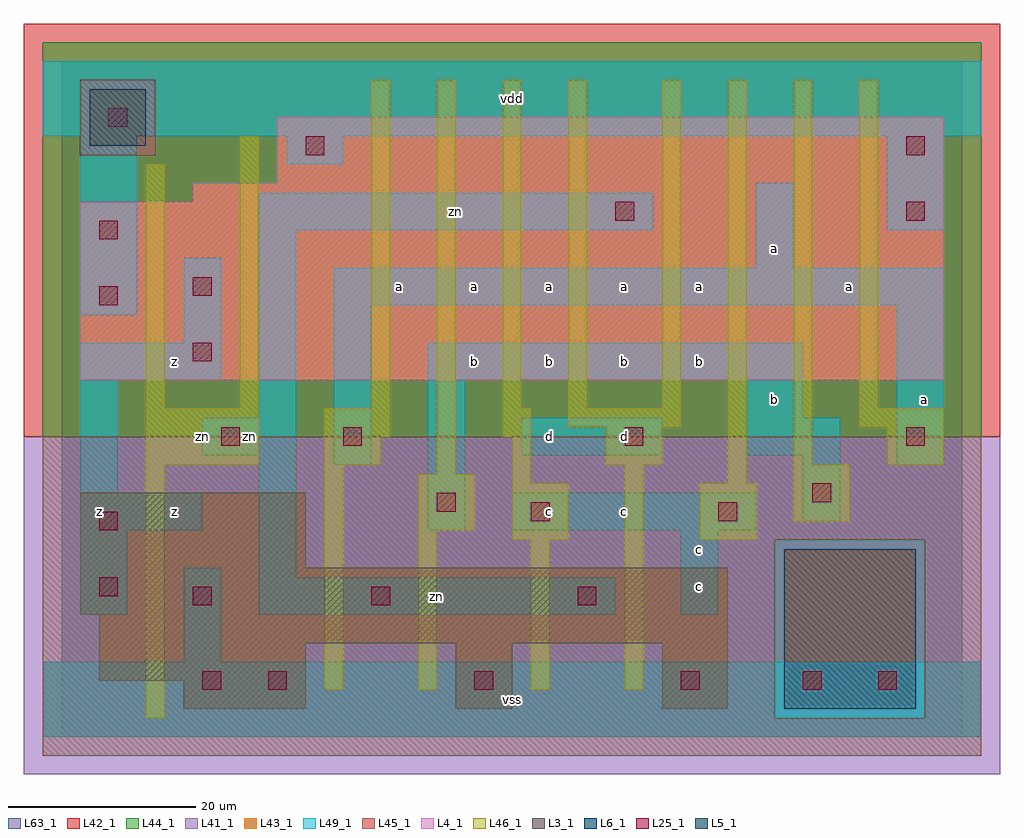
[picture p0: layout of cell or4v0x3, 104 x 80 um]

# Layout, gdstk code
import gdstk
lib = gdstk.Library(unit=1e-6, precision=1e-09)
def R(c, l, rs):  # rectangles x0, y0, x1, y1
    for r in rs: c.add(gdstk.rectangle(r[:2], r[2:], *l))
def A(c, l, x, y, w, h, nx, ny, dx, dy):  # array of equal rectangles
    R(c, l, [(x+i*dx, y+j*dy, x+i*dx+w, y+j*dy+h) for i in range(nx) for j in range(ny)])
L3_1 = (3, 1)
L4_1 = (4, 1)
L5_1 = (5, 1)
L6_1 = (6, 1)
L25_1 = (25, 1)
L41_1 = (41, 1)
L42_1 = (42, 1)
L43_1 = (43, 1)
L44_1 = (44, 1)
L45_1 = (45, 1)
L46_1 = (46, 1)
L49_1 = (49, 1)
L63_1 = (63, 1)

or4v0x3 = lib.new_cell('or4v0x3')
R(or4v0x3, L3_1, [(13,3,26,6), (42,3,48,10), (64,3,71,10), (4,6,26,10), (4,10,71,13), (2,13,71,18), (2,18,26,26)])
R(or4v0x3, L4_1, [(2,38,94,57), (14,57,94,59), (23,59,94,66)])
R(or4v0x3, L5_1, [(3,63,9,69)])
R(or4v0x3, L6_1, [(77,3,91,20), (77,3,91,20)])
A(or4v0x3, L25_1, 22, 5, 2, 2, 3, 1, 22, 0)
A(or4v0x3, L25_1, 30, 31, 2, 2, 3, 1, 30, 0)
R(or4v0x3, L25_1, [(15,5,17,7), (79,5,81,7), (87,5,89,7), (14,14,16,16), (33,14,35,16), (55,14,57,16), (4,15,6,17), (4,22,6,24), (50,23,52,25), (70,23,72,25), (40,24,42,26), (80,25,82,27), (17,31,19,33), (14,40,16,42), (4,46,6,48), (14,47,16,49), (4,53,6,55), (59,55,61,57), (90,55,92,57), (26,62,28,64), (90,62,92,64), (5,65,7,67)])
R(or4v0x3, L41_1, [(-4,-4,100,32)])
R(or4v0x3, L42_1, [(-4,32,100,76)])
R(or4v0x3, L43_1, [(13,3,26,6), (42,3,48,10), (64,3,71,10), (77,3,91,20), (4,6,26,10), (4,10,71,13), (2,13,71,18), (2,18,26,26), (2,38,94,57), (14,57,94,59), (23,59,94,66), (3,63,9,69)])
R(or4v0x3, L44_1, [(76,2,92,21), (-2,32,98,62), (-2,62,2,70), (10,62,98,70), (-2,70,98,74)])
R(or4v0x3, L45_1, [(-2,-2,98,2), (-2,2,76,21), (92,2,98,21), (-2,21,98,32), (2,62,10,70)])
R(or4v0x3, L46_1, [(9,2,11,29), (28,5,30,29), (38,5,40,22), (50,5,52,21), (60,5,62,29), (48,21,54,27), (68,21,74,27), (38,22,44,28), (78,23,84,29), (48,27,50,32), (71,27,73,70), (40,28,42,70), (9,29,21,35), (28,29,34,32), (58,29,64,33), (78,29,80,70), (88,29,94,33), (28,32,35,35), (47,32,50,35), (54,33,66,35), (85,33,94,35), (9,35,11,61), (19,35,21,64), (33,35,35,70), (47,35,49,70), (54,35,56,70), (64,35,66,70), (85,35,87,70)])
R(or4v0x3, L49_1, [(-2,0,98,8), (13,8,17,18), (2,13,7,22), (21,13,59,17), (66,13,70,22), (21,17,25,30), (2,22,15,26), (39,22,43,38), (48,22,74,26), (79,23,83,30), (2,26,6,38), (29,29,33,46), (89,29,94,46), (15,30,25,34), (49,30,64,34), (73,30,83,34), (21,34,25,54), (73,34,79,38), (2,38,17,42), (39,38,79,42), (13,42,17,51), (2,45,8,64), (29,46,94,50), (74,50,78,59), (21,54,63,58), (88,54,94,64), (24,61,30,64), (-2,64,98,72)])
R(or4v0x3, L63_1, [(0,0,96,72)])
or4v0x3.add(gdstk.Label('zn', (15,32), layer=46, texttype=1))
or4v0x3.add(gdstk.Label('z', (4,24), layer=49, texttype=1))
or4v0x3.add(gdstk.Label('z', (12,24), layer=49, texttype=1))
or4v0x3.add(gdstk.Label('z', (12,40), layer=49, texttype=1))
or4v0x3.add(gdstk.Label('zn', (20,32), layer=49, texttype=1))
or4v0x3.add(gdstk.Label('vss', (48,4), layer=49, texttype=1))
or4v0x3.add(gdstk.Label('c', (52,24), layer=49, texttype=1))
or4v0x3.add(gdstk.Label('d', (52,32), layer=49, texttype=1))
or4v0x3.add(gdstk.Label('b', (44,40), layer=49, texttype=1))
or4v0x3.add(gdstk.Label('b', (52,40), layer=49, texttype=1))
or4v0x3.add(gdstk.Label('a', (36,48), layer=49, texttype=1))
or4v0x3.add(gdstk.Label('a', (44,48), layer=49, texttype=1))
or4v0x3.add(gdstk.Label('a', (52,48), layer=49, texttype=1))
or4v0x3.add(gdstk.Label('vdd', (48,68), layer=49, texttype=1))
or4v0x3.add(gdstk.Label('c', (68,16), layer=49, texttype=1))
or4v0x3.add(gdstk.Label('zn', (40,15), layer=49, texttype=1))
or4v0x3.add(gdstk.Label('c', (60,24), layer=49, texttype=1))
or4v0x3.add(gdstk.Label('c', (68,20), layer=49, texttype=1))
or4v0x3.add(gdstk.Label('d', (60,32), layer=49, texttype=1))
or4v0x3.add(gdstk.Label('b', (60,40), layer=49, texttype=1))
or4v0x3.add(gdstk.Label('b', (68,40), layer=49, texttype=1))
or4v0x3.add(gdstk.Label('b', (76,36), layer=49, texttype=1))
or4v0x3.add(gdstk.Label('a', (60,48), layer=49, texttype=1))
or4v0x3.add(gdstk.Label('a', (76,52), layer=49, texttype=1))
or4v0x3.add(gdstk.Label('a', (68,48), layer=49, texttype=1))
or4v0x3.add(gdstk.Label('zn', (42,56), layer=49, texttype=1))
or4v0x3.add(gdstk.Label('a', (92,36), layer=49, texttype=1))
or4v0x3.add(gdstk.Label('a', (84,48), layer=49, texttype=1))

lib.write_gds('or4v0x3.gds')
